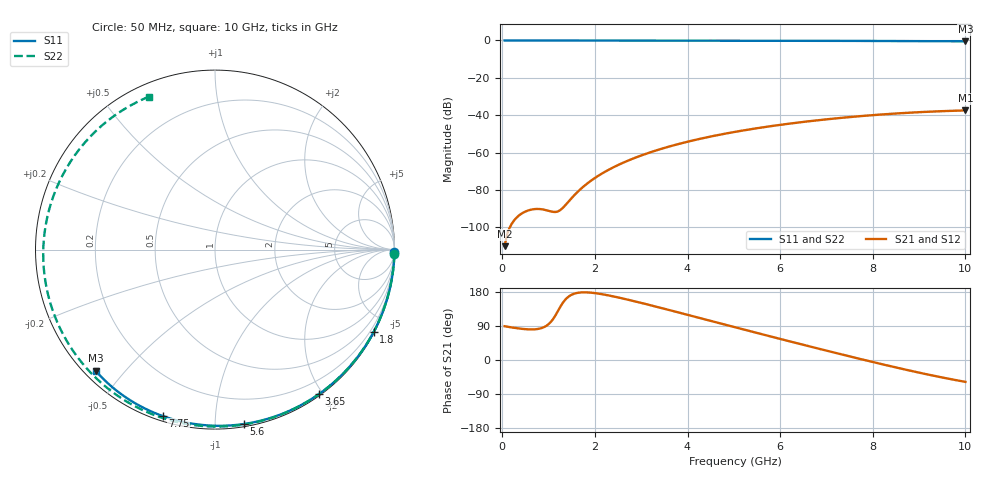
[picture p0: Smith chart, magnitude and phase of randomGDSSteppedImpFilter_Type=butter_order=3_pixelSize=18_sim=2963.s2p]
! freq	dB(S11)	phase(S11)	dB(S12)	phase(S12)
!  dB(S21)	phase(S21)	dB(S22)	phase(S22)
!S-par simulation data
#  GHz  S  DB  R 50
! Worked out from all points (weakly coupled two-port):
!   200 points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, 50 MHz to 10 GHz, reference 50 ohm
!   highest |S21| = -37.41 dB at 10 GHz (marker M1); lowest = -110.0 dB at 50 MHz (marker M2)
!   lowest |S11| = -0.5 dB at 10 GHz (marker M3), VSWR 37.00, Z = 1.59 - j20.9 ohm
!   |S11| at or under -10 dB: nowhere
!   |S22| runs from -0.6 to 0.0 dB; largest |S21 - S12| = 0
!   S11 on the Smith chart (normalised r, x): 50 MHz: open; 1.8 GHz: 0.04, -4.10; 3.65 GHz: 0.02, -1.95; 5.6 GHz: 0.02, -1.18; 7.75 GHz: 0.02, -0.73; 10 GHz: 0.03, -0.42
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0.05  -0.00 -0.8  -109.99 89.2  -109.99 89.2  -0.00 -1.3
0.8  -0.02 -12.3  -90.12 82.6  -90.12 82.6  -0.03 -21.2
1.65  -0.03 -25.2  -80.40 177.7  -80.40 177.7  -0.06 -43.2
1.75  -0.03 -26.6  -78.18 178.6  -78.18 178.6  -0.06 -45.8
1.8  -0.03 -27.4  -77.16 178.5  -77.16 178.5  -0.06 -47.0
2.1  -0.04 -31.9  -71.93 174.7  -71.93 174.7  -0.07 -54.6
2.45  -0.05 -37.0  -67.20 166.5  -67.20 166.5  -0.08 -63.3
2.9  -0.06 -43.6  -62.41 153.7  -62.41 153.7  -0.10 -74.2
3.4  -0.07 -50.7  -58.20 138.3  -58.20 138.3  -0.11 -86.1
3.65  -0.07 -54.3  -56.40 130.4  -56.40 130.4  -0.12 -92.0
4.35  -0.09 -64.0  -52.15 108.1  -52.15 108.1  -0.15 -108.1
5.05  -0.11 -73.4  -48.76 85.7  -48.76 85.7  -0.19 -123.9
5.6  -0.13 -80.6  -46.55 68.2  -46.55 68.2  -0.23 -136.2
6.15  -0.15 -87.7  -44.64 50.9  -44.64 50.9  -0.26 -148.5
6.7  -0.18 -94.6  -42.98 33.9  -42.98 33.9  -0.31 -160.9
7.25  -0.21 -101.4  -41.55 17.1  -41.55 17.1  -0.36 -173.7
7.75  -0.25 -107.5  -40.43 2.1  -40.43 2.1  -0.41 174.3
8.35  -0.29 -114.7  -39.30 -15.4  -39.30 -15.4  -0.47 159.3
8.75  -0.33 -119.5  -38.68 -26.6  -38.68 -26.6  -0.51 148.9
9.15  -0.37 -124.3  -38.16 -37.3  -38.16 -37.3  -0.56 138.0
9.6  -0.42 -129.7  -37.71 -48.6  -37.71 -48.6  -0.61 125.2
10  -0.47 -134.6  -37.41 -57.7  -37.41 -57.7  -0.65 113.4
